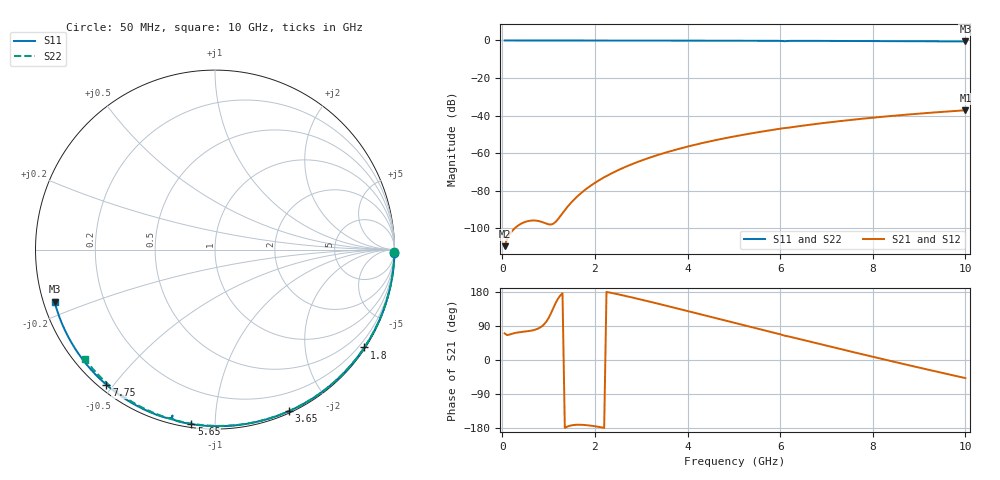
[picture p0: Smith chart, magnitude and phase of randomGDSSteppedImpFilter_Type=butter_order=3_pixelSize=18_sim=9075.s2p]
! freq	dB(S11)	phase(S11)	dB(S12)	phase(S12)
!  dB(S21)	phase(S21)	dB(S22)	phase(S22)
!S-par simulation data
#  GHz  S  DB  R 50
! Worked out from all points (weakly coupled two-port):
!   200 points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, 50 MHz to 10 GHz, reference 50 ohm
!   highest |S21| = -37.18 dB at 10 GHz (marker M1); lowest = -109.6 dB at 50 MHz (marker M2)
!   lowest |S11| = -0.5 dB at 10 GHz (marker M3), VSWR 32.31, Z = 1.59 - j7.91 ohm
!   |S11| at or under -10 dB: nowhere
!   |S22| runs from -0.5 to 0.0 dB; largest |S21 - S12| = 0
!   S11 on the Smith chart (normalised r, x): 50 MHz: open; 1.8 GHz: 0.03, -3.35; 3.65 GHz: 0.02, -1.55; 5.65 GHz: 0.02, -0.87; 7.75 GHz: 0.02, -0.48; 10 GHz: 0.03, -0.16
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0.05  -0.00 -0.9  -109.56 70.4  -109.56 70.4  -0.00 -0.8
0.45  -0.01 -8.4  -97.06 74.5  -97.06 74.5  -0.01 -7.3
0.85  -0.02 -15.9  -96.63 88.5  -96.63 88.5  -0.02 -13.7
1.3  -0.03 -24.2  -91.99 176.3  -91.99 176.3  -0.03 -20.8
1.75  -0.04 -32.3  -80.28 -171.3  -80.28 -171.3  -0.04 -27.9
1.8  -0.04 -33.2  -79.31 -171.7  -79.31 -171.7  -0.04 -28.7
2.1  -0.05 -38.6  -74.30 -176.8  -74.30 -176.8  -0.04 -33.4
2.5  -0.06 -45.7  -69.09 173.4  -69.09 173.4  -0.05 -39.5
2.9  -0.07 -52.7  -64.93 162.3  -64.93 162.3  -0.06 -45.6
3.4  -0.08 -61.3  -60.68 147.5  -60.68 147.5  -0.07 -53.1
3.65  -0.09 -65.5  -58.84 139.9  -58.84 139.9  -0.08 -56.8
4.3  -0.11 -76.2  -54.75 120.0  -54.75 120.0  -0.09 -66.2
5.05  -0.14 -88.3  -50.93 96.9  -50.93 96.9  -0.12 -76.7
5.65  -0.16 -97.7  -48.36 78.6  -48.36 78.6  -0.14 -84.9
6.05  -0.28 -104.4  -46.79 66.1  -46.79 66.1  -0.16 -90.3
6.1  -0.41 -104.3  -46.67 64.0  -46.67 64.0  -0.16 -91.0
6.2  -0.22 -105.4  -46.38 61.7  -46.38 61.7  -0.17 -92.3
6.7  -0.22 -113.3  -44.69 46.8  -44.69 46.8  -0.19 -98.8
7.75  -0.30 -128.8  -41.75 15.8  -41.75 15.8  -0.26 -112.2
8.35  -0.35 -137.6  -40.33 -1.6  -40.33 -1.6  -0.31 -119.7
9.2  -0.44 -150.0  -38.58 -25.7  -38.58 -25.7  -0.39 -130.1
10  -0.54 -162.0  -37.18 -47.7  -37.18 -47.7  -0.47 -139.9
